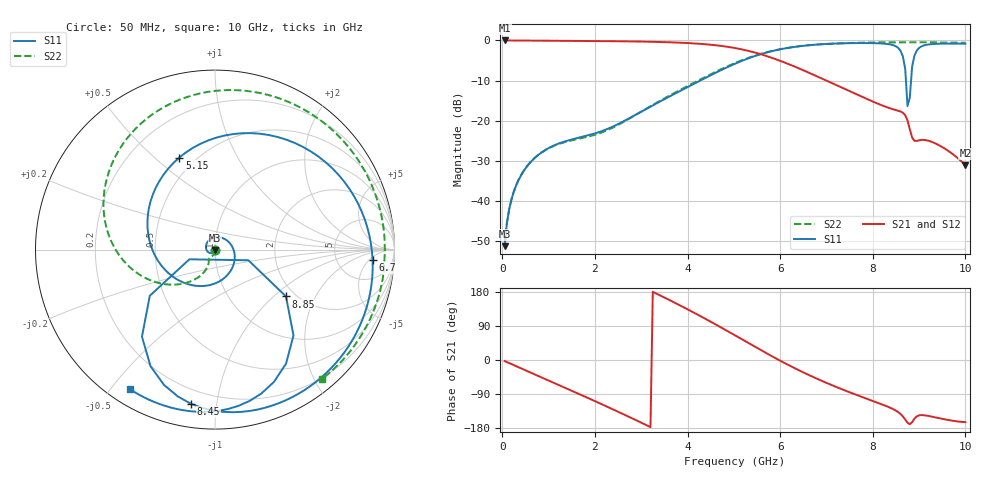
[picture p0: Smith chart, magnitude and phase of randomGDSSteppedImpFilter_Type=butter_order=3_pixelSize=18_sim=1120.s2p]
! freq	dB(S11)	phase(S11)	dB(S12)	phase(S12)
!  dB(S21)	phase(S21)	dB(S22)	phase(S22)
!S-par simulation data
#  GHz  S  DB  R 50
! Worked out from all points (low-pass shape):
!   200 points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, 50 MHz to 10 GHz, reference 50 ohm
!   highest |S21| = -0.01 dB at 50 MHz (marker M1); lowest = -31.0 dB at 10 GHz (marker M2)
!   |S21| within 3 dB of the highest: start of sweep to 5.452 GHz
!   lowest |S11| = -51.2 dB at 50 MHz (marker M3), VSWR 1.01, Z = 50 - j0.274 ohm
!   |S11| at or under -10 dB: start of sweep to 4.272 GHz; 8.716 GHz to 8.827 GHz (111.3 MHz wide, 1.27 % of centre)
!   |S22| runs from -51.0 to -0.5 dB; largest |S21 - S12| = 0
!   S11 on the Smith chart (normalised r, x): 50 MHz: 1.00, -0.01; 5.15 GHz: 0.41, +0.60; 6.7 GHz: 12, -6; 8.45 GHz: 0.12, -0.85; 8.85 GHz: 1.79, -1.20; 10 GHz: 0.06, -0.56
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0.05  -51.20 -84.7  -0.01 -2.7  -0.01 -2.7  -51.05 -82.5
0.2  -39.50 -103.9  -0.02 -10.8  -0.02 -10.8  -39.41 -93.8
0.5  -31.87 -130.0  -0.04 -27.0  -0.04 -27.0  -31.79 -104.2
1.15  -25.96 172.9  -0.08 -62.0  -0.08 -62.0  -26.07 -119.8
1.75  -23.93 111.0  -0.13 -94.7  -0.13 -94.7  -24.23 -122.8
2.65  -19.93 3.8  -0.22 -145.1  -0.22 -145.1  -20.07 -113.8
3.4  -15.23 -77.6  -0.39 171.0  -0.39 171.0  -15.06 -120.7
4.3  -9.83 -168.3  -0.87 114.4  -0.87 114.4  -9.55 -144.5
5.05  -5.67 120.2  -1.95 63.3  -1.95 63.3  -5.50 -176.0
5.15  -5.19 111.2  -2.17 56.3  -2.17 56.3  -5.04 179.0
5.8  -2.73 56.8  -4.24 11.4  -4.24 11.4  -2.68 143.3
6.7  -1.11 -3.8  -8.44 -44.2  -8.44 -44.2  -1.11 92.5
7.6  -0.66 -50.6  -13.17 -89.8  -13.17 -89.8  -0.60 46.3
8.35  -0.94 -90.5  -16.80 -124.5  -16.80 -124.5  -0.48 12.3
8.45  -1.22 -98.9  -17.17 -130.3  -17.17 -130.3  -0.48 8.1
8.6  -2.59 -118.9  -17.69 -142.5  -17.69 -142.5  -0.48 1.9
8.7  -7.03 -144.7  -18.60 -157.0  -18.60 -157.0  -0.48 -2.1
8.75  -16.33 -159.3  -19.93 -165.5  -19.93 -165.5  -0.48 -4.1
8.85  -6.49 -33.4  -24.16 -164.0  -24.16 -164.0  -0.47 -8.0
9  -1.86 -66.0  -24.86 -146.1  -24.86 -146.1  -0.46 -14.0
9.15  -1.11 -81.4  -24.82 -146.5  -24.82 -146.5  -0.47 -19.8
10  -0.81 -121.2  -31.05 -163.9  -31.05 -163.9  -0.58 -50.5
